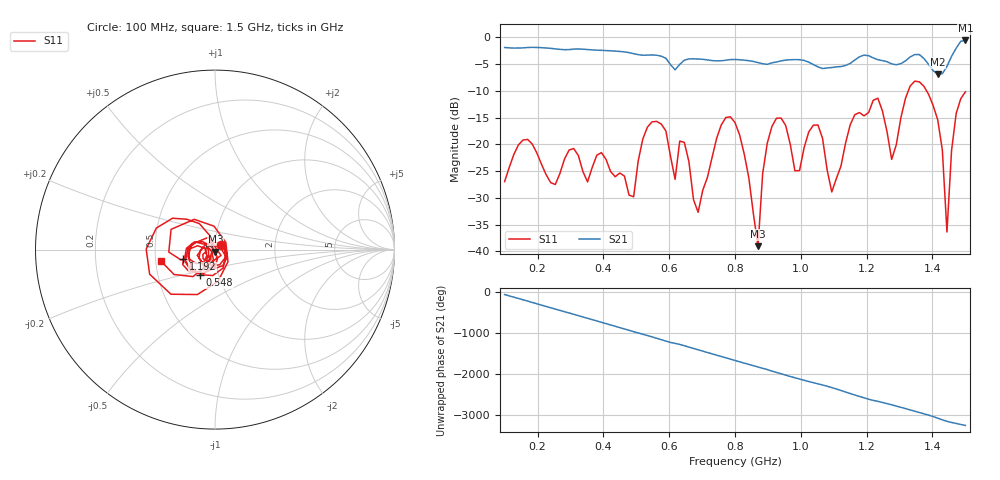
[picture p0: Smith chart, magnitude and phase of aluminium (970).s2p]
! NanoVNA-App
! Date: 2025-09-25 15:02:50
! Start: 100MHz Stop: 1,5GHz Points: 101
! S-Parameter data: F S11 S21 S12 S22
# Hz S RI R 50
!  Frequency  S11_Real  S11_Imag  S21_Real  S21_Imag  S12_Real  S12_Imag  S22_Real  S22_Imag
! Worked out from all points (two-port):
!   101 points, 100 MHz to 1.5 GHz, reference 50 ohm
!   highest |S21| = -0.60 dB at 1.5 GHz (marker M1); lowest = -6.9 dB at 1.416 GHz (marker M2)
!   |S21| within 3 dB of the highest: start of sweep to 578 MHz; 1.458 GHz to end of sweep (the widest 2 of 4)
!   lowest |S11| = -39.0 dB at 870 MHz (marker M3), VSWR 1.02, Z = 50.2 - j1.11 ohm
!   |S11| at or under -10 dB: start of sweep to 1.327 GHz; 1.382 GHz to end of sweep
!   S12 and S22 are empty: the file has one direction only
!   S11 on the Smith chart (normalised r, x): 100 MHz: 1.07, +0.06; 548 MHz: 0.82, -0.24; 1.192 GHz: 0.70, -0.08; 1.5 GHz: 0.53, -0.07
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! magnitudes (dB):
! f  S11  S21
! 100 MHz  -27.0  -1.9
! 170 MHz  -19.1  -1.9
! 338 MHz  -25.1  -2.2
! 492 MHz  -29.8  -3.1
! 548 MHz  -15.8  -3.3
! 576 MHz  -16.2  -3.5
! 646 MHz  -19.6  -4.3
! 688 MHz  -32.7  -4.1
! 800 MHz  -15.9  -4.2
! 870 MHz  -39.0  -4.7
! 912 MHz  -16.7  -4.8
! 982 MHz  -24.9  -4.2
! 1.038 GHz  -16.4  -5.1
! 1.094 GHz  -28.9  -5.7
! 1.192 GHz  -14.7  -3.3
! 1.234 GHz  -11.4  -4.2
! 1.276 GHz  -22.8  -5.0
! 1.346 GHz  -8.2  -3.2
! 1.416 GHz  -15.4  -6.9
! 1.444 GHz  -36.4  -5.4
! 1.472 GHz  -14.2  -2.0
! 1.5 GHz  -10.2  -0.6
